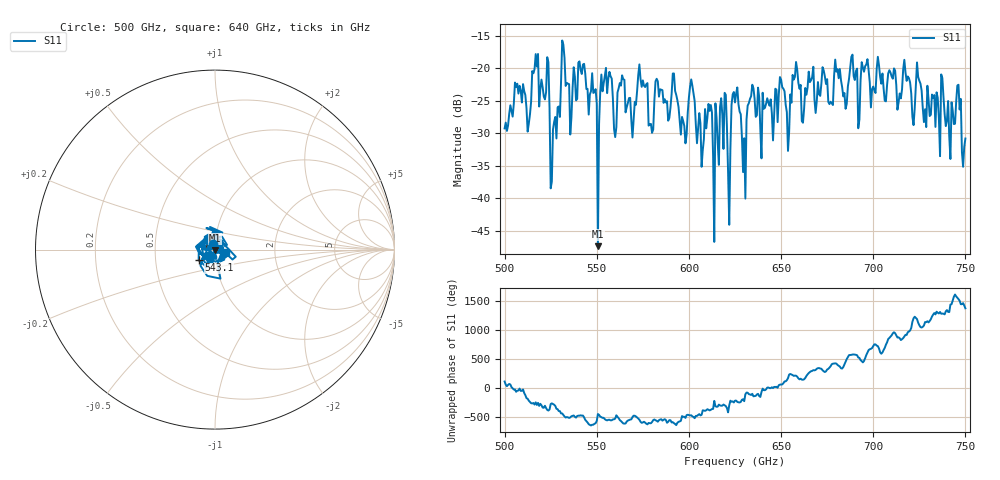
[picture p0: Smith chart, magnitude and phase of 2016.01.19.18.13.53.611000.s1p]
!Created with skrf (http://scikit-rf.org).
# GHz S RI R 50.0
!freq ReS11 ImS11
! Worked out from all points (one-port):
!   401 points, 500 GHz to 750 GHz, reference 50 ohm
!   lowest |S11| = -47.4 dB at 550.6 GHz (marker M1), VSWR 1.01, Z = 50 - j0.427 ohm
!   |S11| at or under -10 dB: start of sweep to end of sweep
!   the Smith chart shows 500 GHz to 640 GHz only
!   S11 on the Smith chart (normalised r, x): 500 GHz: 0.97, +0.06; 543.1 GHz: 0.83, -0.10; 640 GHz: 1.14, -0.03
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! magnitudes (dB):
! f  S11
! 500 GHz  -29.2
! 506.9 GHz  -22.3
! 513.1 GHz  -28.5
! 516.9 GHz  -17.8
! 523.1 GHz  -18.3
! 526.2 GHz  -29.4
! 531.2 GHz  -15.7
! 543.1 GHz  -19.3
! 550.6 GHz  -47.4
! 553.8 GHz  -22.3
! 560 GHz  -30.6
! 562.5 GHz  -22.2
! 579.4 GHz  -28.5
! 593.8 GHz  -24.9
! 611.2 GHz  -26.5
! 615 GHz  -27.6
! 618.8 GHz  -32.4
! 621.9 GHz  -44.1
! 625 GHz  -25.2
! 629.4 GHz  -36.0
! 633.8 GHz  -24.3
! 640 GHz  -23.7
! 656.2 GHz  -21.0
! 687.5 GHz  -20.0
! 718.8 GHz  -21.2
! 740.6 GHz  -25.0
! 746.2 GHz  -22.5
! 750 GHz  -30.8
